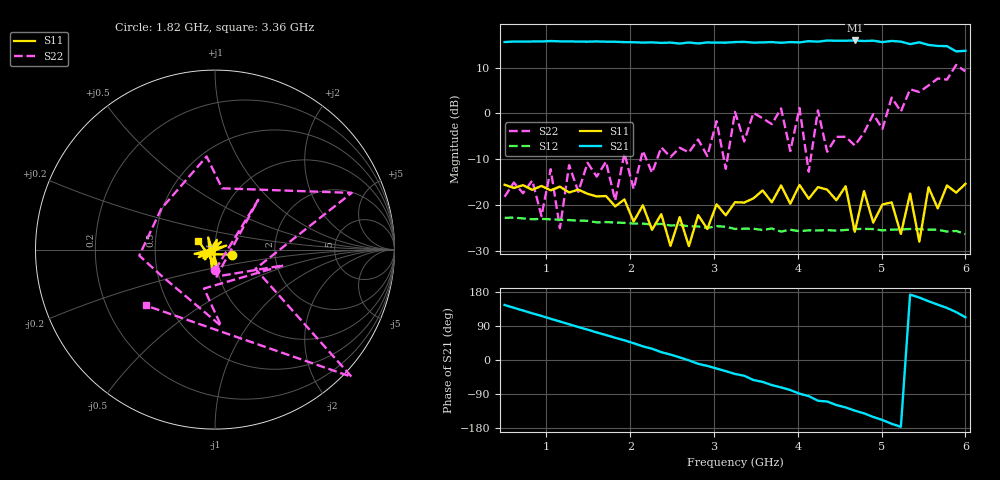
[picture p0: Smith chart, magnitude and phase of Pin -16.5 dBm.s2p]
! RsaToolbox (C) 2015 Rohde & Schwarz America
! Number of points: 51
! Number of ports: 2
! Balanced ports?: No
# Hz S RI R 50
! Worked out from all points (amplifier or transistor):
!   51 points, 500 MHz to 6 GHz, reference 50 ohm
!   highest |S21| = 15.9 dB at 4.68 GHz (marker M1)
!   |S21| within 3 dB of that: start of sweep to end of sweep
!   unconditionally stable (mu >= 1): start of sweep to 3.004 GHz; 3.049 GHz to 3.218 GHz; 4.292 GHz to 4.794 GHz (the widest 3 of 7)
!   at 1.38 GHz: K = 1.35, MAG = 16.0 dB, |S12| = -23.4 dB
!   at 3.25 GHz: K = 0.11, MSG = 20.4 dB, |S12| = -25.2 dB
!   at 6 GHz: K = -14.78, MSG = 20.0 dB, |S12| = -26.3 dB
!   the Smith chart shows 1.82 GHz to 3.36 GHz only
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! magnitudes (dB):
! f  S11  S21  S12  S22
! 500 MHz  -15.5  15.6  -22.8  -18.2
! 940 MHz  -15.8  15.7  -23.0  -22.4
! 1.05 GHz  -16.8  15.8  -23.1  -12.1
! 1.16 GHz  -15.9  15.7  -23.2  -25.0
! 1.27 GHz  -17.2  15.7  -23.2  -11.3
! 1.49 GHz  -17.5  15.7  -23.4  -10.8
! 1.82 GHz  -20.3  15.6  -23.8  -19.0
! 1.93 GHz  -18.7  15.6  -23.9  -8.7
! 2.37 GHz  -22.0  15.4  -24.1  -7.4
! 2.7 GHz  -28.9  15.5  -24.6  -8.5
! 3.03 GHz  -19.8  15.4  -24.6  -1.7
! 3.14 GHz  -22.2  15.4  -24.7  -12.1
! 3.25 GHz  -19.3  15.6  -25.2  0.3
! 3.91 GHz  -19.7  15.6  -25.3  -8.2
! 4.02 GHz  -15.6  15.5  -25.7  1.2
! 4.13 GHz  -18.6  15.8  -25.5  -12.7
! 4.24 GHz  -16.1  15.7  -25.5  0.7
! 4.68 GHz  -25.8  15.9  -25.2  -7.0
! 5.12 GHz  -19.4  15.8  -25.3  3.5
! 5.45 GHz  -27.9  15.5  -25.2  4.7
! 5.56 GHz  -16.1  14.9  -25.3  6.1
! 6 GHz  -15.3  13.7  -26.3  9.2
